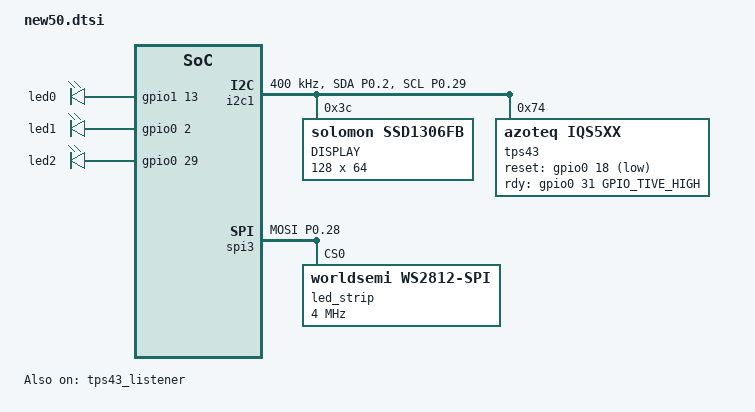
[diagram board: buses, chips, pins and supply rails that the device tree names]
&pinctrl {
//for oled
    i2c1_default: i2c1_default {
        group1 {
            psels = <NRF_PSEL(TWIM_SDA, 0, 30)>,
                    <NRF_PSEL(TWIM_SCL, 0, 31)>;
        };
   };

    i2c1_sleep: i2c1_sleep {
        group1 {
            psels = <NRF_PSEL(TWIM_SDA, 0, 30)>,
                    <NRF_PSEL(TWIM_SCL, 0, 31)>;
            low-power-enable;
        };
    };

//for ws2812
    spi3_default: spi3_default {
        group1 {
            psels = <NRF_PSEL(SPIM_MOSI, 0, 28)>;
        };
    };

    spi3_sleep: spi3_sleep {
        group1 {
            psels = <NRF_PSEL(SPIM_MOSI, 0, 28)>;
            low-power-enable;
        };
    };

    i2c0_default: i2c0_default {
        group1 {
            psels = <NRF_PSEL(TWIM_SDA, 0, 2)>,
                <NRF_PSEL(TWIM_SCL, 0, 29)>;
        };
    };

    i2c0_sleep: i2c0_sleep {
        group1 {
            psels = <NRF_PSEL(TWIM_SDA, 0, 2)>,
                <NRF_PSEL(TWIM_SCL, 0, 29)>;
            low-power-enable;
        };
    };
};

//oled
&i2c1 {
	status = "okay";
	compatible = "nordic,nrf-twi";
	pinctrl-0 = <&i2c1_default>;
	pinctrl-1 = <&i2c1_sleep>;
	pinctrl-names = "default", "sleep";
    
	oled: ssd1306@3c {
        width = <128>;
		height = <64>;
        compatible = "solomon,ssd1306fb";
        segment-offset = <0>;
        multiplex-ratio = <63>; 
        com-sequential; //1.30
        label = "DISPLAY";
		reg = <0x3c>;
		page-offset = <0>;
		display-offset = <0>;
		segment-remap;
		com-invdir;
        inversion-on;   // 翻转颜色
		prechargep = <0x22>;
	};
};


//ws2812
&spi3 {
    compatible = "nordic,nrf-spim";
    status = "okay";

    pinctrl-0 = <&spi3_default>;
    pinctrl-1 = <&spi3_sleep>;
    pinctrl-names = "default", "sleep";

    led_strip: ws2812@0 {
        compatible = "worldsemi,ws2812-spi";

        /* SPI */
        reg = <0>; /* ignored, but necessary for SPI bindings */
        spi-max-frequency = <4000000>;

        /* WS2812 */
        chain-length = <50>; /* arbitrary; change at will */
        spi-one-frame = <0x70>;
        spi-zero-frame = <0x40>;

        color-mapping = <LED_COLOR_ID_GREEN LED_COLOR_ID_RED LED_COLOR_ID_BLUE>;
    };
};

/ {
    aliases {
        led-red = &led0;
        led-green = &led1;
        led-blue = &led2;
    };

    leds {
        compatible = "gpio-leds";
        status = "okay";
        led0: led_0 {
            gpios = <&gpio1 13 GPIO_ACTIVE_HIGH>;  // white LED
        };
        led1: led_1 {
            gpios = <&gpio0 2 GPIO_ACTIVE_HIGH>;  // green LED
        };
        led2: led_2 {
            gpios = <&gpio0 29 GPIO_ACTIVE_HIGH>;  // blue LED
        };
    };
};

&i2c1 {
    compatible = "nordic,nrf-twim"; // I2C controller instead of generic
    status = "okay";
    pinctrl-0 = <&i2c0_default>;
    pinctrl-1 = <&i2c0_sleep>;
    pinctrl-names = "default", "sleep";
    clock-frequency = <I2C_BITRATE_FAST>;

    tps43: iqs5xx@74 {
        status = "okay";
        compatible = "azoteq,iqs5xx";
        reg = <0x74>;

        reset-gpios = <&gpio0 18 GPIO_ACTIVE_LOW>;
        rdy-gpios   = <&gpio0 31 GPIO_TIVE_HIGH>;

        one-finger-tap;
        press-and-hold;
        press-and-hold-time = <250>;
        two-finger-tap;

        scroll;
        natural-scroll-y;
        natural-scroll-x;

        bottom-beta = <5>;
        stationary-threshold = <5>;

        switch-xy;
    };
};

&tps43_listener {
    status = "okay";
};
